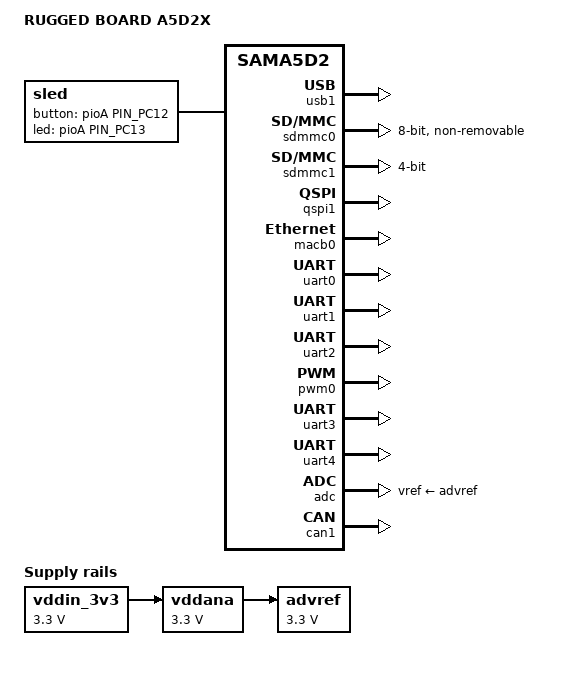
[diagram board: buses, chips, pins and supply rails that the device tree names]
/*
 * a5d2x-rugged_board_common.dtsi - Device Tree file for RUGGED BOARD A5D2X board
 *
 *  Copyright (c) 2017, Microchip Technology Inc.
 *                2016 Nicolas Ferre <nicolas.ferre@atmel.com>
 *                2017 Cristian Birsan <cristian.birsan@microchip.com>
 *                2017 Claudiu Beznea <claudiu.beznea@microchip.com>
 *
 * This file is dual-licensed: you can use it either under the terms
 * of the GPL or the X11 license, at your option. Note that this dual
 * licensing only applies to this file, and not this project as a
 * whole.
 *
 *  a) This file is free software; you can redistribute it and/or
 *     modify it under the terms of the GNU General Public License as
 *     published by the Free Software Foundation; either version 2 of the
 *     License, or (at your option) any later version.
 *
 *     This file is distributed in the hope that it will be useful,
 *     but WITHOUT ANY WARRANTY; without even the implied warranty of
 *     MERCHANTABILITY or FITNESS FOR A PARTICULAR PURPOSE.  See the
 *     GNU General Public License for more details.
 *
 * Or, alternatively,
 *
 *  b) Permission is hereby granted, free of charge, to any person
 *     obtaining a copy of this software and associated documentation
 *     files (the "Software"), to deal in the Software without
 *     restriction, including without limitation the rights to use,
 *     copy, modify, merge, publish, distribute, sublicense, and/or
 *     sell copies of the Software, and to permit persons to whom the
 *     Software is furnished to do so, subject to the following
 *     conditions:
 *
 *     The above copyright notice and this permission notice shall be
 *     included in all copies or substantial portions of the Software.
 *
 *     THE SOFTWARE IS PROVIDED "AS IS", WITHOUT WARRANTY OF ANY KIND,
 *     EXPRESS OR IMPLIED, INCLUDING BUT NOT LIMITED TO THE WARRANTIES
 *     OF MERCHANTABILITY, FITNESS FOR A PARTICULAR PURPOSE AND
 *     NONINFRINGEMENT. IN NO EVENT SHALL THE AUTHORS OR COPYRIGHT
 *     HOLDERS BE LIABLE FOR ANY CLAIM, DAMAGES OR OTHER LIABILITY,
 *     WHETHER IN AN ACTION OF CONTRACT, TORT OR OTHERWISE, ARISING
 *     FROM, OUT OF OR IN CONNECTION WITH THE SOFTWARE OR THE USE OR
 *     OTHER DEALINGS IN THE SOFTWARE.
 */
#include "a5d2x-phycore_som.dtsi"
#include <dt-bindings/mfd/atmel-flexcom.h>
#include <dt-bindings/gpio/gpio.h>
#include <dt-bindings/pinctrl/at91.h>

/ {
	model = "RUGGED BOARD A5D2X";
	compatible = "atmel,sama5d27-som1-ek", "atmel,sama5d27-som1", "atmel,sama5d27", "atmel,sama5d2", "atmel,sama5";

	aliases {
		serial0 = &uart1;	/* DBGU */
		serial1 = &uart0;
		serial2 = &uart2;	/* RS485 */
		serial3 = &uart3;
		serial4 = &uart4;
	};

	chosen {
		stdout-path = "serial0:115200n8";
	};

	ahb {
		usb2: ehci@00500000 {
		/*	atmel,vbus-gpio = <
					&pioA PIN_PD29 GPIO_ACTIVE_HIGH
					   >;*/
			pinctrl-names = "default";
			pinctrl-0 = <&pinctrl_usba_vbus>;
			status = "disabled";
		};

		usb1: ohci@00400000 {
			num-ports = <2>;
			atmel,vbus-gpio = <0 /* &pioA PIN_PD20 GPIO_ACTIVE_HIGH */
					   &pioA PIN_PD29 GPIO_ACTIVE_HIGH
					   0
					  >;
			pinctrl-names = "default";
			pinctrl-0 = <&pinctrl_usb_default>;
			status = "okay";
		};

		usb0: gadget@00300000 {
			status = "disabled";
		};

		sdmmc0: sdio-host@a0000000 {
			bus-width = <8>;
			pinctrl-names = "default";
			pinctrl-0 = <&pinctrl_sdmmc0_default>;
			non-removable;
			status = "okay";
		};

		sdmmc1: sdio-host@b0000000 {
			bus-width = <4>;
			pinctrl-names = "default";
			pinctrl-0 = <&pinctrl_sdmmc1_default>;
			status = "okay";
		};

		apb {
			hlcdc: hlcdc@f0000000 {
				status = "disabled";

				hlcdc-display-controller {
					pinctrl-names = "default";
					pinctrl-0 = <&pinctrl_lcd_base &pinctrl_lcd_rgb>;
				};

				hlcdc_pwm: hlcdc-pwm {
					pinctrl-names = "default";
					pinctrl-0 = <&pinctrl_lcd_pwm>;
				};
			};

			pmc: pmc@f0014000 {
				pmc_fast_restart {
					compatible = "atmel,sama5d2-pmc-fast-startup";
					#address-cells = <1>;
					#size-cells = <0>;

					atmel,wakeup-rtc-timer;

					wkpin: input@0 {
						reg = <0>;
					};

					gmac_wol: input@10 {
						reg = <10>;
						atmel,wakeup-active-high;
					};
				};
			};

			isc: isc@f0008000 {
				pinctrl-names = "default";
				pinctrl-0 = <&pinctrl_isc_base &pinctrl_isc_data_8bit &pinctrl_isc_data_9_10 &pinctrl_isc_data_11_12>;
				status = "disabled";
			};

			qspi1: spi@f0024000 {
				status = "okay";
			};

			spi0: spi@f8000000 {
				pinctrl-names = "default";
				pinctrl-0 = <&pinctrl_spi0_default>;
				status = "disabled";
			};

			macb0: ethernet@f8008000 {
				status = "okay";
			};

			uart0: serial@f801c000 {
				pinctrl-names = "default";
				pinctrl-0 = <&pinctrl_uart0_default>;
				atmel,use-dma-rx;
				atmel,use-dma-tx;
				status = "okay";
			};

			uart1: serial@f8020000 {
				pinctrl-names = "default";
				pinctrl-0 = <&pinctrl_uart1_default>;
				atmel,use-dma-rx;
				atmel,use-dma-tx;
				status = "okay";
			};

			uart2: serial@f8024000 {
				pinctrl-names = "default";
				pinctrl-0 = <&pinctrl_uart2_default>;
				rtsgpio = <&pioA PIN_PC21 GPIO_ACTIVE_HIGH>;
				atmel,use-dma-rx;
				atmel,use-dma-tx;
				linux,rs485-enabled-at-boot-time;
				rs485-rts-active-high;
				rs485-rts-delay = <0 1>;
				status = "okay";
			};

			pwm0: pwm@f802c000 {
				pinctrl-names = "default";
				pinctrl-0 = <&pinctrl_mikrobus1_pwm>;
				status = "okay"; /* Conflict with leds. */
			};

			flx1: flexcom@f8038000 {
				atmel,flexcom-mode = <ATMEL_FLEXCOM_MODE_TWI>;
				status = "disabled";

				i2c2: i2c@600 {
					compatible = "atmel,sama5d2-i2c";
					reg = <0x600 0x200>;
					interrupts = <20 IRQ_TYPE_LEVEL_HIGH 7>;
					dmas = <0>, <0>;
					dma-names = "tx", "rx";
					#address-cells = <1>;
					#size-cells = <0>;
					clocks = <&flx1_clk>;
					pinctrl-names = "default";
					pinctrl-0 = <&pinctrl_mikrobus_i2c>;
					atmel,fifo-size = <16>;
					status = "disabled";
				};
			};

			shdwc@f8048010 {
				atmel,shdwc-debouncer = <976>;
				atmel,wakeup-rtc-timer;

				input@0 {
					reg = <0>;
					atmel,wakeup-type = "low";
				};
			};

			watchdog@f8048040 {
				status = "okay";
			};

			uart3: serial@fc008000 {
				atmel,use-dma-rx;
				atmel,use-dma-tx;
				pinctrl-names = "default";
				pinctrl-0 = <&pinctrl_uart3_default>;
				status = "okay"; /* Conflict with isc. */
			};

			uart4: serial@fc00c000 {
				atmel,use-dma-rx;
				atmel,use-dma-tx;
				pinctrl-names = "default";
				pinctrl-0 = <&pinctrl_uart4_default>;
				status = "okay";
			};

			flx3: flexcom@fc014000 {
				atmel,flexcom-mode = <ATMEL_FLEXCOM_MODE_SPI>;
				status = "disabled";

				uart7: serial@200 {
					compatible = "atmel,at91sam9260-usart";
					reg = <0x200 0x200>;
					interrupts = <22 IRQ_TYPE_LEVEL_HIGH 7>;
					clocks = <&flx3_clk>;
					clock-names = "usart";
					pinctrl-names = "default";
					pinctrl-0 = <&pinctrl_flx3_default>;
					atmel,fifo-size = <32>;
					status = "disabled"; /* Conflict with isc. */
				};

				spi2: spi@400 {
					compatible = "atmel,at91rm9200-spi";
					reg = <0x400 0x200>;
					interrupts = <22 IRQ_TYPE_LEVEL_HIGH 7>;
					clocks = <&flx3_clk>;
					clock-names = "spi_clk";
					pinctrl-names = "default";
					pinctrl-0 = <&pinctrl_flx3_default>;
					atmel,fifo-size = <16>;
					status = "disabled"; /* Conflict with isc. */
				};
			};

			flx4: flexcom@fc018000 {
				atmel,flexcom-mode = <ATMEL_FLEXCOM_MODE_SPI>;
				status = "disabled";

				uart6: serial@200 {
					compatible = "atmel,at91sam9260-usart";
					reg = <0x200 0x200>;
					interrupts = <23 IRQ_TYPE_LEVEL_HIGH 7>;
					clocks = <&flx4_clk>;
					clock-names = "usart";
					pinctrl-names = "default";
					pinctrl-0 = <&pinctrl_flx4_default>;
					atmel,fifo-size = <32>;
					status = "disabled"; /* Conflict with spi3 and i2c3. */
				};

				spi3: spi@400 {
					compatible = "atmel,at91rm9200-spi";
					reg = <0x400 0x200>;
					interrupts = <23 IRQ_TYPE_LEVEL_HIGH 7>;
					clocks = <&flx4_clk>;
					#address-cells = <1>;
					#size-cells = <0>;
					clock-names = "spi_clk";
					pinctrl-names = "default";
					pinctrl-0 = <&pinctrl_mikrobus_spi &pinctrl_mikrobus1_spi_cs &pinctrl_mikrobus1_rst>;
					atmel,fifo-size = <16>;
					status = "disabled";

					spidev@0 {
						compatible = "rohm,dh2228fv";
						reg = <0>;
						spi-max-frequency = <500000>;
						status = "disabled";
					};
				};

				i2c3: i2c@600 {
					compatible = "atmel,sama5d2-i2c";
					reg = <0x600 0x200>;
					interrupts = <23 IRQ_TYPE_LEVEL_HIGH 7>;
					dmas = <0>, <0>;
					dma-names = "tx", "rx";
					#address-cells = <1>;
					#size-cells = <0>;
					clocks = <&flx4_clk>;
					pinctrl-names = "default";
					pinctrl-0 = <&pinctrl_flx4_default>;
					atmel,fifo-size = <16>;
					status = "disabled"; /* Conflict with uart6 and spi3. */
				};
			};

			i2c1: i2c@fc028000 {
				dmas = <0>, <0>;
				pinctrl-names = "default";
				pinctrl-0 = <&pinctrl_i2c1_default>;
				status = "disabled";
			};

			adc: adc@fc030000 {
				vddana-supply = <&vddana>;
				vref-supply = <&advref>;
				pinctrl-names = "default";
				pinctrl-0 = <&pinctrl_adc_default>;
				status = "okay";
			};

			pinctrl@fc038000 {

				pinctrl_lcd_base: pinctrl_lcd_base {
					pinmux = <PIN_PC5__LCDVSYNC>,
						 <PIN_PC6__LCDHSYNC>,
						 <PIN_PC8__LCDDEN>,
						 <PIN_PC7__LCDPCK>;
					bias-disable;
					drive-strength = <ATMEL_PIO_DRVSTR_ME>;
				};

				pinctrl_lcd_rgb: pinctrl_lcd_rgb {
					pinmux = <PIN_PB13__LCDDAT2>,
						 <PIN_PB14__LCDDAT3>,
						 <PIN_PB15__LCDDAT4>,
						 <PIN_PB16__LCDDAT5>,
						 <PIN_PB17__LCDDAT6>,
						 <PIN_PB18__LCDDAT7>,
						 <PIN_PB19__LCDDAT8>,
						 <PIN_PB20__LCDDAT9>,
						 <PIN_PB21__LCDDAT10>,
						 <PIN_PB22__LCDDAT11>,
						 <PIN_PB23__LCDDAT12>,
						 <PIN_PB24__LCDDAT13>,
						 <PIN_PB25__LCDDAT14>,
						 <PIN_PB28__LCDDAT17>,
						 <PIN_PB29__LCDDAT18>,
						 <PIN_PB30__LCDDAT19>,
						 <PIN_PB31__LCDDAT20>,
						 <PIN_PC0__LCDDAT21>,
						 <PIN_PC1__LCDDAT22>,
						 <PIN_PC2__LCDDAT23>;
					bias-disable;
				};

				pinctrl_lcd_pwm: pinctrl_lcd_pwm {
					pinmux = <PIN_PC3__LCDPWM>;
					bias-disable;
				};

				pinctrl_adc_default: adc_default {
					pinmux = <PIN_PD26__GPIO>;
					bias-disable;
				};

				pinctrl_can1_default: can1_default {
					pinmux = <PIN_PC26__CANTX1>,
						 <PIN_PC12__GPIO>,
						 <PIN_PC27__CANRX1>;
					bias-disable;
				};
					
				pinctrl_pc13_default: pc13_default {
                                        pinmux = <PIN_PC13__GPIO>,
                                                 <PIN_PC17__GPIO>,
                                                 <PIN_PC19__GPIO>,
                                                 <PIN_PC12__GPIO>;
                                        bias-disable;
                                };

				pinctrl_flx3_default: flx3_default {
					pinmux = <PIN_PC20__FLEXCOM3_IO0>,
						 <PIN_PC19__FLEXCOM3_IO1>,
						 <PIN_PC18__FLEXCOM3_IO2>,
						 <PIN_PC22__FLEXCOM3_IO4>;
					bias-disable;
				};

				pinctrl_i2c1_default: i2c1_default {
					pinmux = <PIN_PD4__TWD1>,
						 <PIN_PD5__TWCK1>;
					bias-disable;
				};

				pinctrl_isc_base: isc_base {
					pinmux = <PIN_PC21__ISC_PCK>,
						 <PIN_PC22__ISC_VSYNC>,
						 <PIN_PC23__ISC_HSYNC>,
						 <PIN_PC24__ISC_MCK>;
					bias-disable;
				};

				pinctrl_isc_data_8bit: isc_data_8bit {
					pinmux = <PIN_PC20__ISC_D11>,
						 <PIN_PC19__ISC_D10>,
						 <PIN_PC18__ISC_D9>,
						 <PIN_PC17__ISC_D8>,
						 <PIN_PC16__ISC_D7>,
						 <PIN_PC15__ISC_D6>,
						 <PIN_PC14__ISC_D5>,
						 <PIN_PC13__ISC_D4>;
					bias-disable;
				};

				pinctrl_isc_data_9_10: isc_data_9_10 {
					pinmux = <PIN_PC12__ISC_D3>,
						 <PIN_PC11__ISC_D2>;
					bias-disable;
				};

				pinctrl_isc_data_11_12: isc_data_11_12 {
					pinmux = <PIN_PC10__ISC_D1>,
						 <PIN_PC9__ISC_D0>;
					bias-disable;
				};

				pinctrl_digital_ios: digital_ios {
					pinmux = <PIN_PC20__GPIO>,
						 <PIN_PC24__GPIO>,
						 <PIN_PC15__GPIO>,
						 <PIN_PC22__GPIO>;
					bias-pull-up;
				};

				pinctrl_gpio_default: led_gpio_default {
					pinmux = <PIN_PD1__GPIO>,
						 <PIN_PA16__GPIO>,
						 <PIN_PA17__GPIO>,
						 <PIN_PD20__GPIO>,
						 <PIN_PD8__GPIO>,
						 <PIN_PD7__GPIO>,
						 <PIN_PC11__GPIO>,
						 <PIN_PC23__GPIO>,
						 <PIN_PA13__GPIO>,
						 <PIN_PA31__GPIO>,
						 <PIN_PA29__GPIO>,
						 <PIN_PC31__GPIO>,
						 <PIN_PB9__GPIO>,
						 <PIN_PD19__GPIO>,
						 <PIN_PD4__GPIO>,
						 <PIN_PD6__GPIO>,
						 <PIN_PC18__GPIO>,
						 <PIN_PA12__GPIO>,
						 <PIN_PA14__GPIO>,
						 <PIN_PC16__GPIO>,
						 <PIN_PB7__GPIO>,
						 <PIN_PB10__GPIO>,
						 <PIN_PB5__GPIO>,
						 <PIN_PB8__GPIO>;
					bias-pull-up;
				};

				pinctrl_sdmmc0_default: sdmmc0_default {
					cmd_data {
						pinmux = <PIN_PA1__SDMMC0_CMD>,
							 <PIN_PA2__SDMMC0_DAT0>,
							 <PIN_PA3__SDMMC0_DAT1>,
							 <PIN_PA4__SDMMC0_DAT2>,
							 <PIN_PA5__SDMMC0_DAT3>,
							 <PIN_PA8__SDMMC0_DAT6>;
						bias-disable;
					};

					ck_cd_vddsel {
						pinmux = <PIN_PA0__SDMMC0_CK>,
							 <PIN_PA11__SDMMC0_VDDSEL>;
						bias-disable;
					};
				};

				pinctrl_sdmmc1_default: sdmmc1_default {
					cmd_data {
						pinmux = <PIN_PA28__SDMMC1_CMD>,
							 <PIN_PA18__SDMMC1_DAT0>,
							 <PIN_PA19__SDMMC1_DAT1>,
							 <PIN_PA20__SDMMC1_DAT2>,
							 <PIN_PA21__SDMMC1_DAT3>;
						bias-disable;
					};

					conf-ck_cd {
						pinmux = <PIN_PA22__SDMMC1_CK>,
							 <PIN_PA30__SDMMC1_CD>;
						bias-disable;
					};
				};

				pinctrl_spi0_default: spi0_default {
					pinmux = <PIN_PA14__SPI0_SPCK>,
						 <PIN_PA15__SPI0_MOSI>,
						 <PIN_PA16__SPI0_MISO>,
						 <PIN_PA17__SPI0_NPCS0>;
					bias-disable;
				};

				pinctrl_uart0_default: uart0_default {
					pinmux = <PIN_PB26__URXD0>,
						 <PIN_PB27__UTXD0>,
						 <PIN_PA10__GPIO>,
						 <PIN_PA9__GPIO>;
					bias-disable;
				};

				pinctrl_uart1_default: uart1_default {
					pinmux = <PIN_PD2__URXD1>,
						 <PIN_PD3__UTXD1>;
					bias-disable;
				};

				pinctrl_uart2_default: uart2_default {
					pinmux = <PIN_PC21__GPIO>,
						 <PIN_PD23__URXD2>,
						 <PIN_PD24__UTXD2>;
					bias-disable;
				};

				pinctrl_uart4_default: uart4_default {
					pinmux = <PIN_PB3__URXD4>,
						 <PIN_PB4__UTXD4>,
						 <PIN_PA6__GPIO>,
						 <PIN_PA7__GPIO>;
					bias-disable;
				};

				pinctrl_usb_default: usb_default {
					pinmux = <PIN_PA27__GPIO>,
						 <PIN_PC10__GPIO>,
						 <PIN_PC14__GPIO>,
						 <PIN_PD29__GPIO>;
					bias-disable;
				};

				pinctrl_usba_vbus: usba_vbus {
					pinmux = <PIN_PD19__GPIO>;
					bias-disable;
				};

				pinctrl_mikrobus1_an: mikrobus1_an {
					pinmux = <PIN_PD25__GPIO>;
					bias-disable;
				};

				pinctrl_mikrobus1_rst: mikrobus1_rst {
					pinmux = <PIN_PB2__GPIO>;
					bias-disable;
				};

				pinctrl_mikrobus2_rst: mikrobus2_rst {
					pinmux = <PIN_PA26__GPIO>;
					bias-disable;
				};

				pinctrl_mikrobus1_spi_cs: mikrobus1_spi_cs {
					pinmux = <PIN_PD0__FLEXCOM4_IO4>;
					bias-disable;
				};

				pinctrl_mikrobus_spi: mikrobus_spi {
					pinmux = <PIN_PC28__FLEXCOM4_IO0>,
						 <PIN_PC29__FLEXCOM4_IO1>,
						 <PIN_PB0__GPIO>,
						 <PIN_PC30__FLEXCOM4_IO2>;
					bias-disable;
				};

				pinctrl_mikrobus1_pwm: mikrobus1_pwm {
					pinmux = <PIN_PB1__PWML1>;
					bias-disable;
				};

				pinctrl_mikrobus1_int: mikrobus1_int {
					pinmux = <PIN_PB0__GPIO>;
					bias-disable;
				};

				pinctrl_uart3_default: uart3_default {
					pinmux = <PIN_PB11__URXD3>,
						 <PIN_PB12__UTXD3>;
					bias-disable;
				};

				pinctrl_mikrobus_i2c: mikrobus1_i2c {
					pinmux = <PIN_PA24__FLEXCOM1_IO0>,
						 <PIN_PA23__FLEXCOM1_IO1>;
					bias-disable;
				};

				pinctrl_flx4_default: flx4_uart_default {
					pinmux = <PIN_PC28__FLEXCOM4_IO0>,
						 <PIN_PC29__FLEXCOM4_IO1>,
						 <PIN_PC30__FLEXCOM4_IO2>,
						 <PIN_PC31__FLEXCOM4_IO3>,
						 <PIN_PD0__FLEXCOM4_IO4>;
					bias-disable;
				};
			};

			can1: can@fc050000 {
				pinctrl-names = "default";
				pinctrl-0 = <&pinctrl_can1_default>;
				status = "okay";
			};
		};
	};

	digital_ios {
		pinctrl-names = "default";
		pinctrl-0 = <&pinctrl_digital_ios>;
		status = "okay";

	};

	gpios {
		pinctrl-names = "default";
		pinctrl-0 = <&pinctrl_gpio_default>;
		status = "okay"; /* Conflict with pwm0. */
		};

	sled {
                compatible ="sled";
                pinctrl-name ="default";
                pinctrl-0 = <&pinctrl_pc13_default>;
                button-gpios =<&pioA PIN_PC12 0>;
                led-gpios = <&pioA PIN_PC13 0>;
                status = "okay";
                };

	vddin_3v3: fixed-regulator-vddin_3v3 {
		compatible = "regulator-fixed";

		regulator-name = "VDDIN_3V3";
		regulator-min-microvolt = <3300000>;
		regulator-max-microvolt = <3300000>;
		regulator-always-on;
		regulator-boot-on;
		status = "okay";
	};

	vddana: fixed-regulator-vddana {
		compatible = "regulator-fixed";

		regulator-name = "VDDANA";
		regulator-min-microvolt = <3300000>;
		regulator-max-microvolt = <3300000>;
		regulator-always-on;
		regulator-boot-on;
		vin-supply = <&vddin_3v3>;
		status = "okay";
	};

	advref: fixed-regulator-advref {
		compatible = "regulator-fixed";

		regulator-name = "advref";
		regulator-min-microvolt = <3300000>;
		regulator-max-microvolt = <3300000>;
		regulator-always-on;
		regulator-boot-on;
		vin-supply = <&vddana>;
		status = "okay";
};
};
